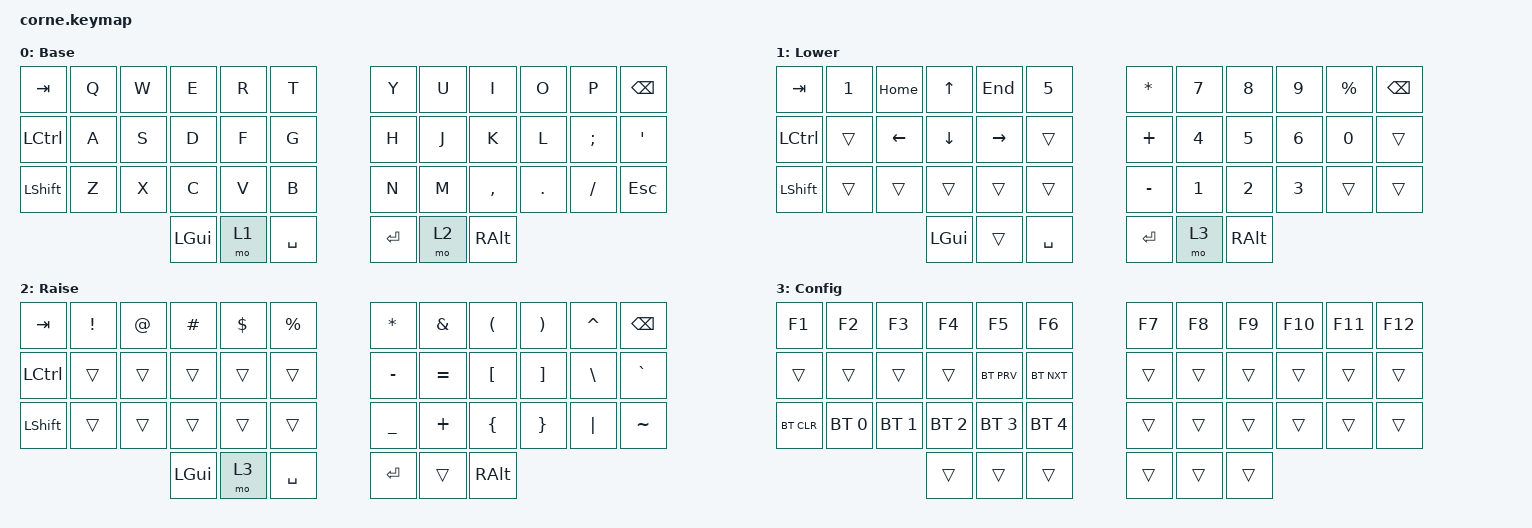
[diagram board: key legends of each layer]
/*
 * Copyright (c) 2020 The ZMK Contributors
 *
 * SPDX-License-Identifier: MIT
 */

#include <behaviors.dtsi>
#include <dt-bindings/zmk/keys.h>
#include <dt-bindings/zmk/bt.h>

/ {
        keymap {
                compatible = "zmk,keymap";

                default_layer {
// -----------------------------------------------------------------------------------------
// |  TAB |  Q  |  W  |  E  |  R  |  T  |   |  Y  |  U   |  I  |  O  |  P  | BKSP |
// | CTRL |  A  |  S  |  D  |  F  |  G  |   |  H  |  J   |  K  |  L  |  ;  |  '   |
// | SHFT |  Z  |  X  |  C  |  V  |  B  |   |  N  |  M   |  ,  |  .  |  /  | ESC  |
//                    | GUI | LWR | SPC |   | ENT | RSE  | ALT |
                        label = "Base";
                        bindings = <
   &kp TAB   &kp Q &kp W &kp E &kp R &kp T   &kp Y &kp U  &kp I     &kp O   &kp P    &kp BSPC
   &kp LCTRL &kp A &kp S &kp D &kp F &kp G   &kp H &kp J  &kp K     &kp L   &kp SEMI &kp SQT
   &kp LSHFT &kp Z &kp X &kp C &kp V &kp B   &kp N &kp M  &kp COMMA &kp DOT &kp FSLH &kp ESC
                  &kp LGUI &mo 1 &kp SPACE   &kp RET &mo 2 &kp RALT
                        >;
                };
                Lower {
// -----------------------------------------------------------------------------------------
// |  TAB |  1  | HOME|  UP | END |  5  |   |  *  |  7  |  8  |  9  |  %  | BKSP |
// | CTLR |     | LFT | DWN | RGT |     |   |  +  |  4  |  5  |  6  |  0  |      |
// | SHFT |     |     |     |     |     |   |  _  |  1  |  2  |  3  |     |      |
//                    | GUI |     | SPC |   | ENT | MO3 | ALT |
                         label = "Lower";
                        bindings = <
   &kp TAB    &kp N1       &kp HOME     &kp UP       &kp END      &kp N5         &kp ASTRK   &kp N7   &kp N8 &kp N9    &kp PRCNT &kp BSPC
   &kp LCTRL  &trans       &kp LEFT     &kp DOWN     &kp RIGHT    &trans         &kp PLUS    &kp N4   &kp N5 &kp N6    &kp N0   &trans
   &kp LSHFT  &trans       &trans       &trans       &trans       &trans         &kp MINUS   &kp N1   &kp N2 &kp N3    &trans   &trans
                                    &kp LGUI     &trans       &kp SPACE      &kp RET  &mo 3   &kp RALT
                        >;
                };

                Raise {
// -----------------------------------------------------------------------------------------
// |  TAB |  !  |  @  |  #  |  $  |  %  |   |  *  |  &  |  (  |  )  |  ^  | BKSP |
// | CTRL |     |     |     |     |     |   |  -  |  =  |  [  |  ]  |  \  |  `   |
// | SHFT |     |     |     |     |     |   |  _  |  +  |  {  |  }  | "|" |  ~   |
//                    | GUI | MO3 | SPC |   | ENT |     | ALT |
                        label = "Raise";
                        bindings = <
   &kp  TAB  &kp EXCL &kp AT &kp HASH &kp DLLR &kp PRCNT   &kp ASTRK &kp AMPS  &kp LPAR  &kp RPAR &kp CARET &kp BSPC
   &kp LCTRL &trans   &trans &trans   &trans   &trans      &kp MINUS &kp EQUAL &kp LBKT  &kp RBKT &kp BSLH &kp GRAVE
   &kp LSHFT &trans   &trans &trans   &trans   &trans      &kp UNDER &kp PLUS  &kp LBRC  &kp RBRC &kp PIPE &kp TILDE
                             &kp LGUI &mo 3   &kp SPACE   &kp RET   &trans    &kp RALT
                        >;
                };

                Config {
            // ------------------------------------------------------------------------------------------------------------
            // |  F1  |   F2   |   F3  |  F4   |  F5   |   F6  |       |   F7   |  F8   |   F9  |  F10  |   F11 |   F12   |
            // |OUT_USB|OUT_BLE|OUT_TOG|BT_CLR |BT_PRV | BT_NXT|       |RGBSAT- |RGBSAT+|       |CLICK_1| UP    |CLICK_2  |
            // |BT_CLR |BT_0   |BT_1   |BT_2   |BT_3   |BT_4   |       |RGBHUE- |RGBHUE+| RESET | LEFT  | DOWN  | RIGHT   |
            //                         |EP_ON  | EP_OFF|EP_TOG |       |RGBANI- |RGBANI+|   RGBTOG      |

            label = "Config";
            bindings = <
            &kp F1          &kp F2                &kp F3                 &kp F4             &kp F5           &kp F6          &kp F7              &kp F8             &kp F9                 &kp F10              &kp F11           &kp F12
            &trans          &trans                &trans                 &trans             &bt BT_PRV       &bt BT_NXT      &trans              &trans             &trans                 &trans               &trans            &trans
            &bt BT_CLR      &bt BT_SEL 0          &bt BT_SEL 1           &bt BT_SEL 2       &bt BT_SEL 3     &bt BT_SEL 4    &trans              &trans             &trans                 &trans               &trans            &trans
                                                                         &trans             &trans           &trans          &trans              &trans             &trans
            >;
        };




        };
};
